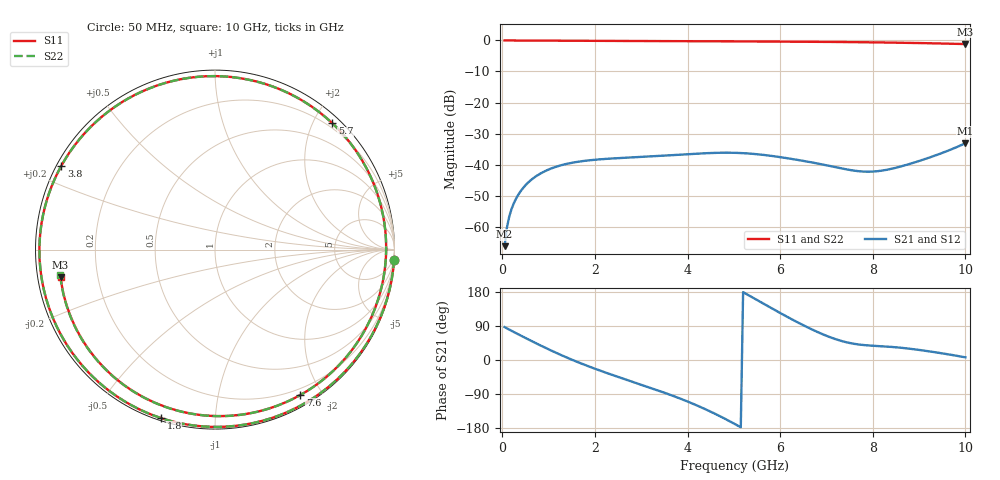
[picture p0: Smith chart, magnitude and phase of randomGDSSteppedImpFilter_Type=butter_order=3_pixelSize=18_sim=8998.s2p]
! freq	dB(S11)	phase(S11)	dB(S12)	phase(S12)
!  dB(S21)	phase(S21)	dB(S22)	phase(S22)
!S-par simulation data
#  GHz  S  DB  R 50
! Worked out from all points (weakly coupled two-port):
!   200 points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, 50 MHz to 10 GHz, reference 50 ohm
!   highest |S21| = -33.09 dB at 10 GHz (marker M1); lowest = -66.3 dB at 50 MHz (marker M2)
!   lowest |S11| = -1.2 dB at 10 GHz (marker M3), VSWR 14.86, Z = 3.39 - j4.44 ohm
!   |S11| at or under -10 dB: nowhere
!   |S22| runs from -1.2 to 0.0 dB; largest |S21 - S12| = 0
!   S11 on the Smith chart (normalised r, x): 50 MHz: 0, -36; 1.8 GHz: 0.01, -0.73; 3.8 GHz: 0.01, +0.26; 5.7 GHz: 0.12, +2.29; 7.6 GHz: 0.13, -1.74; 10 GHz: 0.07, -0.09
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0.05  -0.00 -3.2  -66.26 86.8  -66.26 86.8  -0.00 -3.2
0.1  -0.01 -6.5  -60.24 83.5  -60.24 83.5  -0.01 -6.5
0.2  -0.02 -12.9  -54.29 76.9  -54.29 76.9  -0.02 -12.9
0.5  -0.05 -31.9  -46.65 58.2  -46.65 58.2  -0.05 -31.9
1.15  -0.09 -71.4  -40.73 19.7  -40.73 19.7  -0.09 -71.4
1.75  -0.12 -105.1  -38.83 -11.4  -38.83 -11.4  -0.12 -105.2
1.8  -0.12 -107.8  -38.74 -13.8  -38.74 -13.8  -0.13 -107.9
2.25  -0.15 -131.4  -38.13 -34.0  -38.13 -34.0  -0.15 -131.6
2.65  -0.17 -151.6  -37.78 -50.8  -37.78 -50.8  -0.17 -151.8
3.05  -0.18 -171.4  -37.47 -67.2  -37.47 -67.2  -0.18 -171.7
3.4  -0.20 171.3  -37.18 -81.9  -37.18 -81.9  -0.20 170.9
3.8  -0.22 151.3  -36.82 -99.9  -36.82 -99.9  -0.22 150.8
4.45  -0.26 117.6  -36.29 -133.5  -36.29 -133.5  -0.26 116.9
5.05  -0.30 84.7  -36.21 -170.8  -36.21 -170.8  -0.30 83.7
5.7  -0.35 47.1  -36.97 144.6  -36.97 144.6  -0.35 45.9
6.2  -0.38 17.7  -38.04 110.8  -38.04 110.8  -0.39 16.4
6.7  -0.43 -11.1  -39.33 79.9  -39.33 79.9  -0.43 -12.5
7.15  -0.48 -36.0  -40.68 57.0  -40.68 57.0  -0.48 -37.3
7.6  -0.54 -59.6  -41.94 42.6  -41.94 42.6  -0.55 -60.8
8.35  -0.68 -95.9  -41.52 35.0  -41.52 35.0  -0.68 -97.0
9.25  -0.91 -136.4  -37.58 22.2  -37.58 22.2  -0.91 -137.3
10  -1.17 -169.8  -33.09 7.0  -33.09 7.0  -1.17 -170.6
